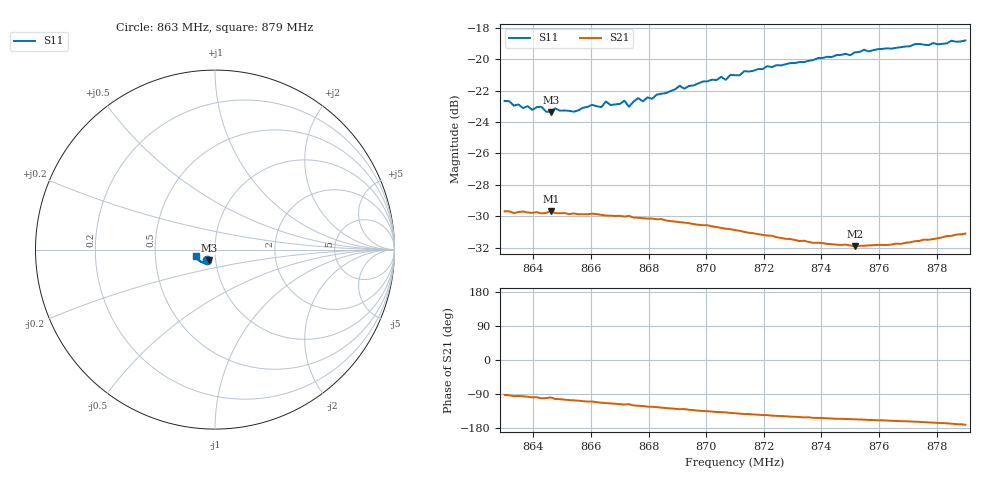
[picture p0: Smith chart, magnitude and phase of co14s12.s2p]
# HZ S RI R 50
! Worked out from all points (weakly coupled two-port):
!   101 points, 863 MHz to 879 MHz, reference 50 ohm
!   highest |S21| = -29.67 dB at 864.6 MHz (marker M1); lowest = -31.9 dB at 875.16 MHz (marker M2)
!   lowest |S11| = -23.4 dB at 864.6 MHz (marker M3), VSWR 1.15, Z = 46.4 - j5.49 ohm
!   |S11| at or under -10 dB: start of sweep to end of sweep
!   S12 and S22 are empty: the file has one direction only
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8.63e8  -0.0447 -0.0585  -0.00117 -0.0328  0 0  0 0
8.6396e8  -0.0396 -0.0564  -0.00481 -0.0321  0 0  0 0
8.6428e8  -0.0398 -0.0583  -0.00626 -0.0317  0 0  0 0
8.646e8  -0.0339 -0.0589  -0.00498 -0.0325  0 0  0 0
8.6476e8  -0.0386 -0.058  -0.00722 -0.0315  0 0  0 0
8.654e8  -0.0365 -0.0575  -0.00914 -0.031  0 0  0 0
8.6572e8  -0.0372 -0.0593  -0.0102 -0.0304  0 0  0 0
8.6636e8  -0.0367 -0.06  -0.0123 -0.0295  0 0  0 0
8.6652e8  -0.0381 -0.0627  -0.0127 -0.0291  0 0  0 0
8.6716e8  -0.0375 -0.0635  -0.0146 -0.028  0 0  0 0
8.6732e8  -0.0372 -0.0599  -0.0142 -0.0283  0 0  0 0
8.6764e8  -0.0372 -0.0653  -0.016 -0.0269  0 0  0 0
8.678e8  -0.0365 -0.0637  -0.0163 -0.0266  0 0  0 0
8.6844e8  -0.0394 -0.0669  -0.018 -0.0252  0 0  0 0
8.6908e8  -0.0438 -0.0696  -0.0194 -0.0232  0 0  0 0
8.6924e8  -0.0411 -0.0692  -0.0192 -0.0233  0 0  0 0
8.71e8  -0.0513 -0.0725  -0.022 -0.0182  0 0  0 0
8.7212e8  -0.0594 -0.0742  -0.0226 -0.0156  0 0  0 0
8.7372e8  -0.0693 -0.0712  -0.0231 -0.012  0 0  0 0
8.7516e8  -0.0821 -0.0656  -0.0233 -0.0101  0 0  0 0
8.7644e8  -0.0909 -0.0584  -0.0242 -0.00865  0 0  0 0
8.79e8  -0.1084 -0.0375  -0.0275 -0.00451  0 0  0 0
